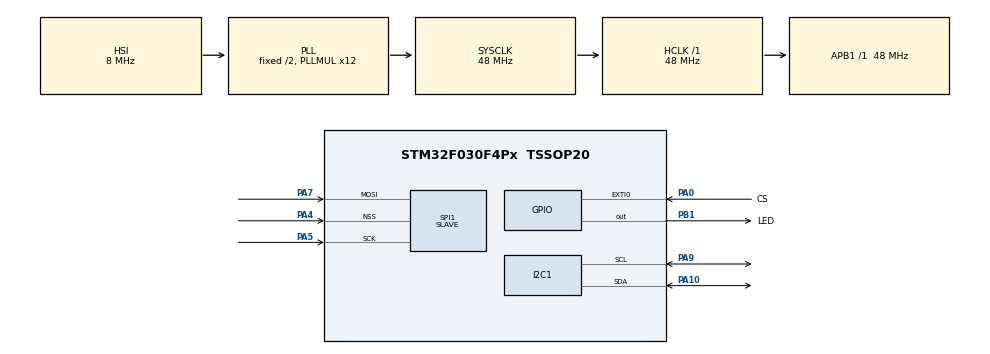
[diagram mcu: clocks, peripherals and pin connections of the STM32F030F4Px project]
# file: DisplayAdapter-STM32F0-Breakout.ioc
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Dma.Request0=SPI1_RX
Dma.SPI1_RX.0.Direction=DMA_PERIPH_TO_MEMORY
Dma.SPI1_RX.0.Instance=DMA1_Channel2
Dma.SPI1_RX.0.MemDataAlignment=DMA_MDATAALIGN_BYTE
Dma.SPI1_RX.0.MemInc=DMA_MINC_ENABLE
Dma.SPI1_RX.0.Mode=DMA_CIRCULAR
Dma.SPI1_RX.0.PeriphDataAlignment=DMA_PDATAALIGN_BYTE
Dma.SPI1_RX.0.PeriphInc=DMA_PINC_DISABLE
Dma.SPI1_RX.0.Priority=DMA_PRIORITY_LOW
Mcu.Family=STM32F0
Mcu.Name=STM32F030F4Px
Mcu.Package=TSSOP20
NVIC.DMA1_Channel2_3_IRQn=true\:0\:0\:false\:false\:true\:false\:true
NVIC.EXTI0_1_IRQn=true\:0\:0\:false\:false\:true\:true\:true
PA0.GPIO_Label=CS
PA0.GPIO_ModeDefaultEXTI=GPIO_MODE_IT_RISING_FALLING
PA0.GPIO_PuPd=GPIO_PULLUP
PA0.Signal=GPXTI0
PA10.Mode=I2C
PA10.Signal=I2C1_SDA
PA13.Mode=Serial_Wire
PA13.Signal=SYS_SWDIO
PA14.Mode=Serial_Wire
PA14.Signal=SYS_SWCLK
PA4.Mode=NSS_Signal_Hard_Input
PA4.Signal=SPI1_NSS
PA5.GPIO_PuPd=GPIO_NOPULL
PA5.Mode=RX_Only_Simplex_Unidirect_Slave
PA5.Signal=SPI1_SCK
PA7.Mode=RX_Only_Simplex_Unidirect_Slave
PA7.Signal=SPI1_MOSI
PA9.Mode=I2C
PA9.Signal=I2C1_SCL
PB1.GPIO_Label=LED
PB1.Signal=GPIO_Output
ProjectManager.HeapSize=0x200
ProjectManager.StackSize=0x400
ProjectManager.TargetToolchain=MDK-ARM V5
RCC.AHBFreq_Value=48000000
RCC.APB1Freq_Value=48000000
RCC.APB1TimFreq_Value=48000000
RCC.HCLKFreq_Value=48000000
RCC.PLLMUL=RCC_PLL_MUL12
RCC.SYSCLKFreq_VALUE=48000000
RCC.SYSCLKSource=RCC_SYSCLKSOURCE_PLLCLK
SPI1.CLKPhase=SPI_PHASE_2EDGE
SPI1.CLKPolarity=SPI_POLARITY_HIGH
SPI1.DataSize=SPI_DATASIZE_8BIT
SPI1.Direction=SPI_DIRECTION_2LINES_RXONLY
SPI1.Mode=SPI_MODE_SLAVE
SPI1.VirtualNSS=VM_NSSHARD
SPI1.VirtualType=VM_SLAVE
board=DisplayAdapter-STM32F0-Breakout

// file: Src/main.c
/**
  ******************************************************************************
  * File Name          : main.c
  * Description        : Main program body
  ******************************************************************************
  ** This notice applies to any and all portions of this file
  * that are not between comment pairs USER CODE BEGIN and
  * USER CODE END. Other portions of this file, whether
  * inserted by the user or by software development tools
  * are owned by their respective copyright owners.
  *
  * COPYRIGHT(c) 2021 STMicroelectronics
  *
  * Redistribution and use in source and binary forms, with or without modification,
  * are permitted provided that the following conditions are met:
  *   1. Redistributions of source code must retain the above copyright notice,
  *      this list of conditions and the following disclaimer.
  *   2. Redistributions in binary form must reproduce the above copyright notice,
  *      this list of conditions and the following disclaimer in the documentation
  *      and/or other materials provided with the distribution.
  *   3. Neither the name of STMicroelectronics nor the names of its contributors
  *      may be used to endorse or promote products derived from this software
  *      without specific prior written permission.
  *
  * THIS SOFTWARE IS PROVIDED BY THE COPYRIGHT HOLDERS AND CONTRIBUTORS "AS IS"
  * AND ANY EXPRESS OR IMPLIED WARRANTIES, INCLUDING, BUT NOT LIMITED TO, THE
  * IMPLIED WARRANTIES OF MERCHANTABILITY AND FITNESS FOR A PARTICULAR PURPOSE ARE
  * DISCLAIMED. IN NO EVENT SHALL THE COPYRIGHT HOLDER OR CONTRIBUTORS BE LIABLE
  * FOR ANY DIRECT, INDIRECT, INCIDENTAL, SPECIAL, EXEMPLARY, OR CONSEQUENTIAL
  * DAMAGES (INCLUDING, BUT NOT LIMITED TO, PROCUREMENT OF SUBSTITUTE GOODS OR
  * SERVICES; LOSS OF USE, DATA, OR PROFITS; OR BUSINESS INTERRUPTION) HOWEVER
  * CAUSED AND ON ANY THEORY OF LIABILITY, WHETHER IN CONTRACT, STRICT LIABILITY,
  * OR TORT (INCLUDING NEGLIGENCE OR OTHERWISE) ARISING IN ANY WAY OUT OF THE USE
  * OF THIS SOFTWARE, EVEN IF ADVISED OF THE POSSIBILITY OF SUCH DAMAGE.
  *
  ******************************************************************************
  */

#include "main.h"
#include "stm32f0xx_hal.h"

/* USER CODE BEGIN Includes */
#include <string.h>
#include "tm1637.h"
#include "ssd1306.h"
#include "Adafruit_GFX.h"

/* USER CODE END Includes */

I2C_HandleTypeDef hi2c1;

SPI_HandleTypeDef hspi1;
DMA_HandleTypeDef hdma_spi1_rx;

/* USER CODE BEGIN PV */
/* Private variables ---------------------------------------------------------*/

/* USER CODE END PV */

void SystemClock_Config(void);
static void MX_GPIO_Init(void);
static void MX_DMA_Init(void);
static void MX_I2C1_Init(void);
static void MX_SPI1_Init(void);

/* USER CODE BEGIN PFP */
/* Private function prototypes -----------------------------------------------*/

/* USER CODE END PFP */

/* USER CODE BEGIN 0 */
#define BUFFERLEN (128)
volatile uint8_t buffer[BUFFERLEN];
int startOfData;
volatile int notifyBufferCompleted;
int count;
/* USER CODE END 0 */

int main(void)
{

  /* MCU Configuration----------------------------------------------------------*/

  /* Reset of all peripherals, Initializes the Flash interface and the Systick. */
  HAL_Init();

  /* Configure the system clock */
  SystemClock_Config();

  /* Initialize all configured peripherals */
  MX_GPIO_Init();
  MX_DMA_Init();
  MX_I2C1_Init();
  MX_SPI1_Init();

  /* USER CODE BEGIN 2 */

	/* Initialize SSD1306 */
	int i, n = 0;
	char caption[8];

#if 0
	ssd1306Init();
	display();
	HAL_Delay(200);

	Adafruit_GFX(getWidth(), getHeight());
	setTextSize(6);
	setTextColor1(WHITE);

	/* Initialize TM1637 */
	tm1637Init();
	tm1637SetBrightness(8);

	/* Drive both displays */
	while(1){
		/* SSD1306 */
		clearDisplay();
		setCursor(0, 0);
		sprintf(caption, "%i", n%1000);
		for(i=0; i<strlen(caption); i++)
			write(caption[i]);

		display();
		HAL_Delay(5);

		/* TM1637 */
		tm1637DisplayDecimal(n, 0);

		n++;
	}
	/* Select one out of these two */
	//ssd1306Demo();
	//tm1637Demo();
#endif
  /* USER CODE END 2 */

  /* Infinite loop */
  while (1)
  {

  /* USER CODE BEGIN 3 */

		/* Wait for a new buffer */
		while(!notifyBufferCompleted);

		notifyBufferCompleted = 0;
		HAL_GPIO_TogglePin(LED_GPIO_Port, LED_Pin);
		n++;
		/* Decode data starting from startOfData and drive display */
		//HAL_Delay(500);
		//memset(buffer, 'b', sizeof(buffer));
		//TODO
  }
  /* USER CODE END 3 */

}

/** System Clock Configuration
*/
void SystemClock_Config(void)
{

  RCC_OscInitTypeDef RCC_OscInitStruct;
  RCC_ClkInitTypeDef RCC_ClkInitStruct;
  RCC_PeriphCLKInitTypeDef PeriphClkInit;

    /**Initializes the CPU, AHB and APB busses clocks
    */
  RCC_OscInitStruct.OscillatorType = RCC_OSCILLATORTYPE_HSI;
  RCC_OscInitStruct.HSIState = RCC_HSI_ON;
  RCC_OscInitStruct.HSICalibrationValue = 16;
  RCC_OscInitStruct.PLL.PLLState = RCC_PLL_ON;
  RCC_OscInitStruct.PLL.PLLSource = RCC_PLLSOURCE_HSI;
  RCC_OscInitStruct.PLL.PLLMUL = RCC_PLL_MUL12;
  RCC_OscInitStruct.PLL.PREDIV = RCC_PREDIV_DIV1;
  if (HAL_RCC_OscConfig(&RCC_OscInitStruct) != HAL_OK)
  {
    _Error_Handler(__FILE__, __LINE__);
  }

    /**Initializes the CPU, AHB and APB busses clocks
    */
  RCC_ClkInitStruct.ClockType = RCC_CLOCKTYPE_HCLK|RCC_CLOCKTYPE_SYSCLK
                              |RCC_CLOCKTYPE_PCLK1;
  RCC_ClkInitStruct.SYSCLKSource = RCC_SYSCLKSOURCE_PLLCLK;
  RCC_ClkInitStruct.AHBCLKDivider = RCC_SYSCLK_DIV1;
  RCC_ClkInitStruct.APB1CLKDivider = RCC_HCLK_DIV1;

  if (HAL_RCC_ClockConfig(&RCC_ClkInitStruct, FLASH_LATENCY_1) != HAL_OK)
  {
    _Error_Handler(__FILE__, __LINE__);
  }

  PeriphClkInit.PeriphClockSelection = RCC_PERIPHCLK_I2C1;
  PeriphClkInit.I2c1ClockSelection = RCC_I2C1CLKSOURCE_HSI;
  if (HAL_RCCEx_PeriphCLKConfig(&PeriphClkInit) != HAL_OK)
  {
    _Error_Handler(__FILE__, __LINE__);
  }

    /**Configure the Systick interrupt time
    */
  HAL_SYSTICK_Config(HAL_RCC_GetHCLKFreq()/1000);

    /**Configure the Systick
    */
  HAL_SYSTICK_CLKSourceConfig(SYSTICK_CLKSOURCE_HCLK);

  /* SysTick_IRQn interrupt configuration */
  HAL_NVIC_SetPriority(SysTick_IRQn, 0, 0);
}

/* I2C1 init function */
static void MX_I2C1_Init(void)
{

  hi2c1.Instance = I2C1;
  hi2c1.Init.Timing = 0x2000090E;
  hi2c1.Init.OwnAddress1 = 0;
  hi2c1.Init.AddressingMode = I2C_ADDRESSINGMODE_7BIT;
  hi2c1.Init.DualAddressMode = I2C_DUALADDRESS_DISABLE;
  hi2c1.Init.OwnAddress2 = 0;
  hi2c1.Init.OwnAddress2Masks = I2C_OA2_NOMASK;
  hi2c1.Init.GeneralCallMode = I2C_GENERALCALL_DISABLE;
  hi2c1.Init.NoStretchMode = I2C_NOSTRETCH_DISABLE;
  if (HAL_I2C_Init(&hi2c1) != HAL_OK)
  {
    _Error_Handler(__FILE__, __LINE__);
  }

    /**Configure Analogue filter
    */
  if (HAL_I2CEx_ConfigAnalogFilter(&hi2c1, I2C_ANALOGFILTER_ENABLE) != HAL_OK)
  {
    _Error_Handler(__FILE__, __LINE__);
  }

    /**Configure Digital filter
    */
  if (HAL_I2CEx_ConfigDigitalFilter(&hi2c1, 0) != HAL_OK)
  {
    _Error_Handler(__FILE__, __LINE__);
  }

}

/* SPI1 init function */
static void MX_SPI1_Init(void)
{

  /* SPI1 parameter configuration*/
  hspi1.Instance = SPI1;
  hspi1.Init.Mode = SPI_MODE_SLAVE;
  hspi1.Init.Direction = SPI_DIRECTION_2LINES_RXONLY;
  hspi1.Init.DataSize = SPI_DATASIZE_8BIT;
  hspi1.Init.CLKPolarity = SPI_POLARITY_HIGH;
  hspi1.Init.CLKPhase = SPI_PHASE_2EDGE;
  hspi1.Init.NSS = SPI_NSS_HARD_INPUT;
  hspi1.Init.FirstBit = SPI_FIRSTBIT_MSB;
  hspi1.Init.TIMode = SPI_TIMODE_DISABLE;
  hspi1.Init.CRCCalculation = SPI_CRCCALCULATION_DISABLE;
  hspi1.Init.CRCPolynomial = 7;
  hspi1.Init.CRCLength = SPI_CRC_LENGTH_DATASIZE;
  hspi1.Init.NSSPMode = SPI_NSS_PULSE_DISABLE;
  if (HAL_SPI_Init(&hspi1) != HAL_OK)
  {
    _Error_Handler(__FILE__, __LINE__);
  }

}

static void MX_DMA_Init(void)
{
  /* DMA controller clock enable */
  __HAL_RCC_DMA1_CLK_ENABLE();

  /* DMA interrupt init */
  /* DMA1_Channel2_3_IRQn interrupt configuration */
  HAL_NVIC_SetPriority(DMA1_Channel2_3_IRQn, 0, 0);
  HAL_NVIC_EnableIRQ(DMA1_Channel2_3_IRQn);

}

/** Configure pins as
        * Analog
        * Input
        * Output
        * EVENT_OUT
        * EXTI
*/
static void MX_GPIO_Init(void)
{

  GPIO_InitTypeDef GPIO_InitStruct;

  /* GPIO Ports Clock Enable */
  __HAL_RCC_GPIOA_CLK_ENABLE();
  __HAL_RCC_GPIOB_CLK_ENABLE();

  /*Configure GPIO pin Output Level */
  HAL_GPIO_WritePin(LED_GPIO_Port, LED_Pin, GPIO_PIN_RESET);

  /*Configure GPIO pin : CS_Pin */
  GPIO_InitStruct.Pin = CS_Pin;
  GPIO_InitStruct.Mode = GPIO_MODE_IT_RISING_FALLING;
  GPIO_InitStruct.Pull = GPIO_PULLUP;
  HAL_GPIO_Init(CS_GPIO_Port, &GPIO_InitStruct);

  /*Configure GPIO pin : LED_Pin */
  GPIO_InitStruct.Pin = LED_Pin;
  GPIO_InitStruct.Mode = GPIO_MODE_OUTPUT_PP;
  GPIO_InitStruct.Pull = GPIO_NOPULL;
  GPIO_InitStruct.Speed = GPIO_SPEED_FREQ_LOW;
  HAL_GPIO_Init(LED_GPIO_Port, &GPIO_InitStruct);

  /* EXTI interrupt init*/
  HAL_NVIC_SetPriority(EXTI0_1_IRQn, 0, 0);
  HAL_NVIC_EnableIRQ(EXTI0_1_IRQn);

}

/* USER CODE BEGIN 4 */
void HAL_GPIO_EXTI_Callback(uint16_t GPIO_Pin)
{
	int ret;

	if(GPIO_Pin == CS_Pin){
		/* If CS=0 mark where the start of data is.
		 * If CS=1 transmission is over, so inform application to process data.
		 */
		if(HAL_GPIO_ReadPin(CS_GPIO_Port, CS_Pin) == GPIO_PIN_RESET){
			__HAL_SPI_ENABLE(&hspi1);
			ret = HAL_SPI_Receive_DMA(&hspi1, buffer, BUFFERLEN);
			if(ret != HAL_OK)
				while(1);

			startOfData = BUFFERLEN - hspi1.hdmarx->Instance->CNDTR;
		}
		else{
			//__HAL_SPI_DISABLE(&hspi1);
			HAL_SPI_DMAStop(&hspi1);
			notifyBufferCompleted = 1;
		}
	}
}
/* USER CODE END 4 */

void _Error_Handler(char * file, int line)
{
  while(1)
  {
  }
}

/************************ (C) COPYRIGHT STMicroelectronics *****END OF FILE****/
